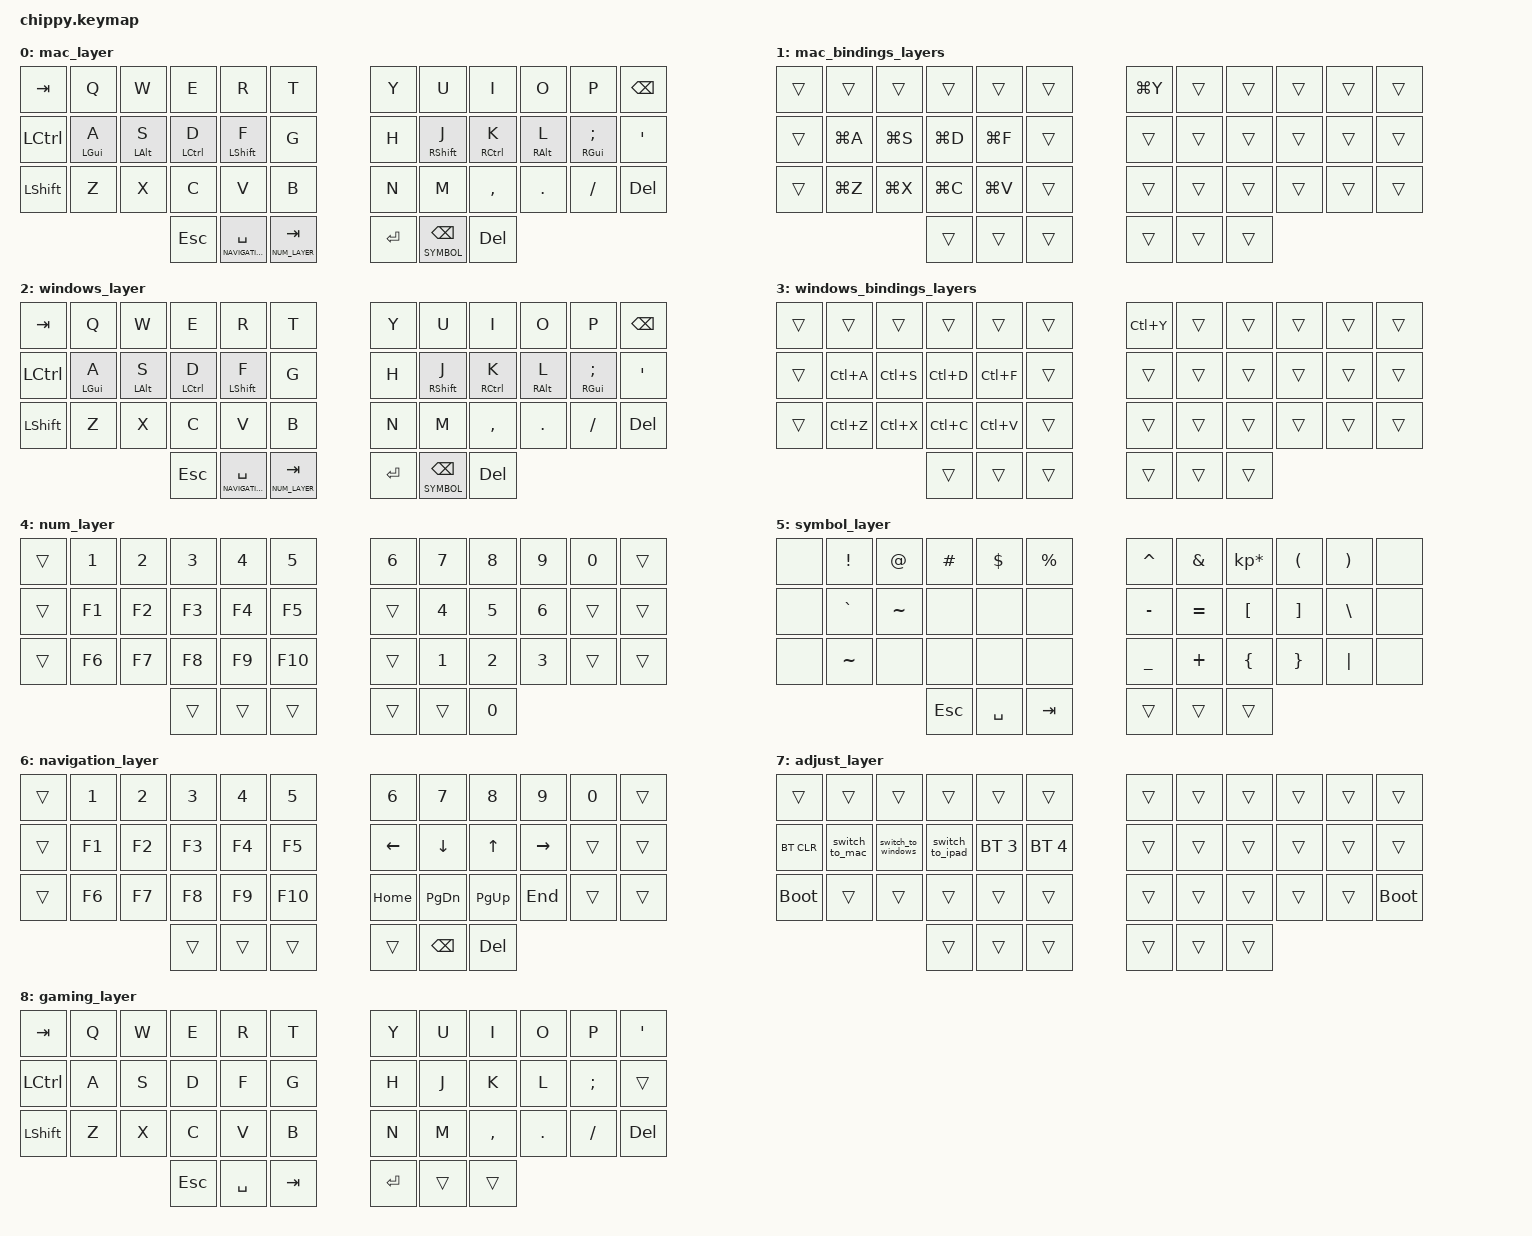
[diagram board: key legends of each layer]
/*
 * Copyright (c) 2020 The ZMK Contributors
 *
 * SPDX-License-Identifier: MIT
 */

#include <behaviors.dtsi>
#include <dt-bindings/zmk/keys.h>
#include <dt-bindings/zmk/bt.h>


#define MAC 0
#define MAC_BINDINGS 1
#define WINDOWS 2
#define WINDOWS_BINDINGS 3
#define NUM_LAYER   4
#define SYMBOL  5
#define NAVIGATION  6
#define ADJUST  7
#define GAMING  8

#define LT0  5  // left-top row
#define LT1  4
#define LT2  3
#define LT3  2
#define LT4  1
#define LT5  0

#define RT0  6  // right-top row
#define RT1  7
#define RT2  8
#define RT3  9
#define RT4 10
#define RT5 11

#define LM0 17  // left-middle row
#define LM1 16
#define LM2 15
#define LM3 14
#define LM4 13
#define LM5 12

#define RM0 18  // right-middle row
#define RM1 19
#define RM2 20
#define RM3 21
#define RM4 22
#define RM5 23

#define LB0 29  // left-bottom row
#define LB1 28
#define LB2 27
#define LB3 26
#define LB4 25
#define LB5 24

#define RB0 30  // right-bottom row
#define RB1 31
#define RB2 32
#define RB3 33
#define RB4 34
#define RB5 35

#define LH0 38  // left thumb keys
#define LH1 37
#define LH2 36

#define RH0 39  // right thumb keys
#define RH1 40
#define RH2 41

/ {
        conditional_layers {
                compatible = "zmk,conditional-layers";
                        tri_layer {
                        if-layers = <NUM_LAYER SYMBOL>;
                        then-layer = <ADJUST>;
                };
        };

        behaviors {
                hml: home_row_mod_left {
                        compatible = "zmk,behavior-hold-tap";
                        label = "HOME_ROW_MOD_LEFT";
                        #binding-cells = <2>;
                        flavor = "balanced";
                        tapping-term-ms = <280>;
                        quick-tap-ms = <175>;
                        bindings = <&kp>, <&kp>;
                        hold-trigger-key-positions = <
                                RT0 RT1 RT2 RT3 RT4 RT5  // right top row
                                RM0 RM1 RM2 RM3 RM4 RM5  // right middle row
                                RB0 RB1 RB2 RB3 RB4 RB5  // right bottom row
                                RH0 RH1 RH2              // right thumb keys
                        >;
                        hold-trigger-on-release;
                };
                hmr: home_row_mod_right {
                        compatible = "zmk,behavior-hold-tap";
                        label = "HOME_ROW_MOD_RIGHT";
                        #binding-cells = <2>;
                        flavor = "balanced";
                        tapping-term-ms = <280>;
                        quick-tap-ms = <175>;
                        bindings = <&kp>, <&kp>;
                        hold-trigger-key-positions = <
                                LT0 LT1 LT2 LT3 LT4 LT5  // left top row
                                LM0 LM1 LM2 LM3 LM4 LM5  // left middle row
                                LB0 LB1 LB2 LB3 LB4 LB5  // left bottom row
                                LH0 LH1 LH2              // left thumb keys
                        >;
                        hold-trigger-on-release;
                };
                lt_thumb: layer_tap_thumb {
                        compatible = "zmk,behavior-hold-tap";
                        label = "LAYER_TAP_THUMB";
                        #binding-cells = <2>;
                        tapping-term-ms = <200>;               // Slightly longer tapping term for better usability
                        flavor = "balanced";                   // Balanced approach to tap vs hold
                        hold-trigger-key-positions = <0 1 2 3 4 5 6 7 8 9 10 11
                                                     12 13 14 15 16 17 18 19 20 21 22 23
                                                     24 25 26 27 28 29 30 31 32 33 34 35>;  // All non-thumb keys
                        hold-trigger-on-release;               // Improved reliability for layer activation
                        retro-tap;                             // Tap key if no other key was pressed during hold
                        global-quick-tap;
                        bindings = <&mo>, <&kp>;
                };
        };

        macros {
                ZMK_MACRO(switch_to_mac, bindings= <&bt BT_SEL 0 &to MAC>;)
                ZMK_MACRO(switch_to_ipad, bindings= <&bt BT_SEL 2 &to MAC>;)
                ZMK_MACRO(switch_to_windows, bindings= <&bt BT_SEL 1 &to WINDOWS>;)
                ZMK_MACRO(toggle_gaming, bindings= <&tog GAMING>;)

                win_app_sw: win_app_sw {
                        label = "WINDOWS_APP_SWITCHER";
                        compatible = "zmk,behavior-macro";
                        #binding-cells = <0>;
                        bindings
                                = <&macro_press &kp LALT>
                                , <&macro_tap &kp TAB>
                                , <&macro_press &mo NAVIGATION>
                                , <&macro_pause_for_release>
                                , <&macro_release &mo NAVIGATION>
                                , <&macro_release &kp LALT>
                                ;
                };     

                mac_app_sw: mac_app_sw {
                        label = "MAC_APP_SWITCHER";
                        compatible = "zmk,behavior-macro";
                        #binding-cells = <0>;
                        bindings
                                = <&macro_press &kp LGUI>
                                , <&macro_tap &kp TAB>
                                , <&macro_press &mo NAVIGATION>
                                , <&macro_pause_for_release>
                                , <&macro_release &mo NAVIGATION>
                                , <&macro_release &kp LGUI>
                                ;
                };  
        };

        combos {
                compatible = "zmk,combos";
                combo_spotlight {         
                        timeout-ms = <50>;
                        key-positions = <LH0 RH0>;
                        bindings = <&kp LG(SPACE)>;
                        layers = <MAC>;
                };

                combo_sticky_shift_mac {
                        timeout-ms = <50>;
                        key-positions = <RT1 RT3>;  // U and O keys
                        bindings = <&sk LSHFT>;
                        layers = <MAC>;
                };

                combo_caps_word_mac {
                        timeout-ms = <50>;
                        key-positions = <RT1 RT2 RT3>;  // U, I, and O keys
                        bindings = <&caps_word>;
                        layers = <MAC>;
                };

                combo_spotlight_windows {         
                        timeout-ms = <50>;
                        key-positions = <LH0 RH0>;
                        bindings = <&kp LA(SPACE)>;
                        layers = <WINDOWS>;
                };

                combo_sticky_shift_windows {
                        timeout-ms = <50>;
                        key-positions = <RT1 RT3>;  // U and O keys
                        bindings = <&sk LSHFT>;
                        layers = <WINDOWS>;
                };

                combo_caps_word_windows {
                        timeout-ms = <50>;
                        key-positions = <RT1 RT2 RT3>;  // U, I, and O keys
                        bindings = <&caps_word>;
                        layers = <WINDOWS>;
                };

                combo_app_switcher_windows {         
                        timeout-ms = <50>;
                        key-positions = <LM4 LM3 LM2 LM1>;
                        bindings = <&win_app_sw>;
                        layers = <WINDOWS>;
                };

                combo_copy_windows {         
                        timeout-ms = <50>;
                        key-positions = <LB3 LB2>;
                        bindings = <&kp LC(C)>;
                        layers = <WINDOWS>;
                };
                combo_paste_windows {         
                        timeout-ms = <50>;
                        key-positions = <LB2 LB1>;
                        bindings = <&kp LC(V)>;
                        layers = <WINDOWS>;
                };
                combo_cut_windows {         
                        timeout-ms = <50>;
                        key-positions = <LB3 LB1>;
                        bindings = <&kp LC(X)>;
                        layers = <WINDOWS>;
                };
                combo_undo_windows {         
                        timeout-ms = <50>;
                        key-positions = <LB4 LB3>;
                        bindings = <&kp LC(Z)>;
                        layers = <WINDOWS>;
                };
                combo_select_windows {         
                        timeout-ms = <50>;
                        key-positions = <LM4 LM1>;
                        bindings = <&kp LC(A)>;
                        layers = <WINDOWS>;
                };
                combo_find_windows {         
                        timeout-ms = <50>;
                        key-positions = <LM2 LM1>;
                        bindings = <&kp LC(F)>;
                        layers = <WINDOWS>;
                };
                combo_close_window_windows {         
                        timeout-ms = <50>;
                        key-positions = <LT3 LT1>;
                        bindings = <&kp LC(W)>;
                        layers = <WINDOWS>;
                };
                
                combo_app_switcher_mac {         
                        timeout-ms = <50>;
                        key-positions = <LM4 LM3 LM2 LM1>;
                        bindings = <&mac_app_sw>;
                        layers = <MAC>;
                };
                
                combo_copy_mac {         
                        timeout-ms = <50>;
                        key-positions = <LB3 LB2>;
                        bindings = <&kp LG(C)>;
                        layers = <MAC>;
                };
                combo_paste_mac {         
                        timeout-ms = <50>;
                        key-positions = <LB2 LB1>;
                        bindings = <&kp LG(V)>;
                        layers = <MAC>;
                };
                combo_cut_mac {         
                        timeout-ms = <50>;
                        key-positions = <LB3 LB1>;
                        bindings = <&kp LG(X)>;
                        layers = <MAC>;
                };
                combo_undo_mac {         
                        timeout-ms = <50>;
                        key-positions = <LB4 LB3>;
                        bindings = <&kp LG(Z)>;
                        layers = <MAC>;
                };
                combo_select_mac {         
                        timeout-ms = <50>;
                        key-positions = <LM4 LM1>;
                        bindings = <&kp LG(A)>;
                        layers = <MAC>;
                };
                combo_find_mac {         
                        timeout-ms = <50>;
                        key-positions = <LM2 LM1>;
                        bindings = <&kp LG(F)>;
                        layers = <MAC>;
                };
                combo_close_window_mac {
                        timeout-ms = <50>;
                        key-positions = <LT3 LT1>;
                        bindings = <&kp LG(W)>;
                        layers = <MAC>;
                };

                combo_toggle_gaming {
                        timeout-ms = <50>;
                        key-positions = <LH2 RH2>;
                        bindings = <&toggle_gaming>;
                        layers = <WINDOWS GAMING>;
                };
        };                      

        keymap {
                compatible = "zmk,keymap";

                // MAC Layer (0) - Base Mac Layout
                // ╭─────────────┬─────────────┬─────────────┬─────────────┬─────────────┬─────────────╮   ╭─────────────┬─────────────┬─────────────┬─────────────┬─────────────┬─────────────╮
                // │   TRANS     │      Q      │      W      │      E      │      R      │      T      │   │      Y      │      U      │      I      │      O      │      P      │    BSPC     │
                // │   TRANS     │   GUI/A     │   ALT/S     │  CTRL/D     │  SHFT/F     │      G      │   │      H      │  SHFT/J     │  CTRL/K     │   ALT/L     │   GUI/;     │     '       │
                // │   TRANS     │      Z      │      X      │      C      │      V      │      B      │   │      N      │      M      │      ,      │      .      │      /      │    DEL      │
                // ╰─────────────┴─────────────┴─────────────┼─────────────┼─────────────┼─────────────┤   ├─────────────┼─────────────┼─────────────┼─────────────┴─────────────┴─────────────╯
                //                                           │    ESC      │ NAV/SPACE   │    TAB      │   │    RET      │   SYMBOL    │    RALT     │
                //                                           ╰─────────────┴─────────────┴─────────────╯   ╰─────────────┴─────────────┴─────────────╯
                mac_layer {
                        bindings = <
   &kp TAB       &kp Q           &kp W           &kp E            &kp R           &kp T               &kp Y           &kp U            &kp I            &kp O            &kp P            &kp BSPC
   &kp LCTRL     &hml LGUI A     &hml LALT S     &hml LCTRL D     &hml LSHFT F    &kp G               &kp H           &hmr RSHFT J     &hmr RCTRL K     &hmr RALT L      &hmr RGUI SEMI   &kp SQT
   &kp LSHFT     &kp Z           &kp X           &kp C            &kp V           &kp B               &kp N           &kp M            &kp COMMA        &kp DOT          &kp FSLH         &kp DEL
                                                &kp ESC          &lt_thumb NAVIGATION SPACE  &lt_thumb NUM_LAYER TAB   &kp RET          &lt_thumb SYMBOL BSPC  &kp DEL
                        >;
                };

                // MAC Bindings Layer (1) - Quick Mac Shortcuts
                // ╭─────────────┬─────────────┬─────────────┬─────────────┬─────────────┬─────────────╮   ╭─────────────┬─────────────┬─────────────┬─────────────┬─────────────┬─────────────╮
                // │   TRANS     │   TRANS     │   TRANS     │   TRANS     │   TRANS     │   TRANS     │   │   CMD+Y     │   TRANS     │   TRANS     │   TRANS     │   TRANS     │   TRANS     │
                // │   TRANS     │   CMD+A     │   CMD+S     │   CMD+D     │   CMD+F     │   TRANS     │   │   TRANS     │   TRANS     │   TRANS     │   TRANS     │   TRANS     │   TRANS     │
                // │   TRANS     │   CMD+Z     │   CMD+X     │   CMD+C     │   CMD+V     │   TRANS     │   │   TRANS     │   TRANS     │   TRANS     │   TRANS     │   TRANS     │   TRANS     │
                // ╰─────────────┴─────────────┴─────────────┼─────────────┼─────────────┼─────────────┤   ├─────────────┼─────────────┼─────────────┼─────────────┴─────────────┴─────────────╯
                //                                           │   TRANS     │   TRANS     │   TRANS     │   │   TRANS     │   TRANS     │   TRANS     │
                //                                           ╰─────────────┴─────────────┴─────────────╯   ╰─────────────┴─────────────┴─────────────╯
                mac_bindings_layers {
                        bindings = <
   &trans       &trans          &trans          &trans           &trans          &trans              &kp LG(Y)       &trans           &trans           &trans           &trans           &trans
   &trans       &kp LG(A)       &kp LG(S)       &kp LG(D)        &kp LG(F)       &trans              &trans          &trans           &trans           &trans           &trans           &trans
   &trans       &kp LG(Z)       &kp LG(X)       &kp LG(C)        &kp LG(V)       &trans              &trans          &trans           &trans           &trans           &trans           &trans
                                                &trans           &trans          &trans              &trans          &trans           &trans
                        >;
                };

                // Windows Layer (2) - Base Windows Layout
                // ╭─────────────┬─────────────┬─────────────┬─────────────┬─────────────┬─────────────╮   ╭─────────────┬─────────────┬─────────────┬─────────────┬─────────────┬─────────────╮
                // │   TRANS     │      Q      │      W      │      E      │      R      │      T      │   │      Y      │      U      │      I      │      O      │      P      │    BSPC     │
                // │   TRANS     │   GUI/A     │   ALT/S     │  CTRL/D     │  SHFT/F     │      G      │   │      H      │  SHFT/J     │  CTRL/K     │   ALT/L     │   GUI/;     │     '       │
                // │   TRANS     │      Z      │      X      │      C      │      V      │      B      │   │      N      │      M      │      ,      │      .      │      /      │    DEL      │
                // ╰─────────────┴─────────────┴─────────────┼─────────────┼─────────────┼─────────────┤   ├─────────────┼─────────────┼─────────────┼─────────────┴─────────────┴─────────────╯
                //                                           │    ESC      │ NUM_LAYER/SPACE │    TAB      │   │    RET      │   SYMBOL     │    LGUI     │
                //                                           ╰─────────────┴─────────────┴─────────────╯   ╰─────────────┴─────────────┴─────────────╯
                windows_layer {
                        bindings = <
   &kp TAB         &kp Q           &kp W           &kp E            &kp R           &kp T               &kp Y           &kp U            &kp I            &kp O            &kp P            &kp BSPC
   &kp LCTRL       &hml LGUI A     &hml LALT S     &hml LCTRL D     &hml LSHFT F    &kp G               &kp H           &hmr RSHFT J     &hmr RCTRL K     &hmr RALT L      &hmr RGUI SEMI   &kp SQT
   &kp LSHFT       &kp Z           &kp X           &kp C            &kp V           &kp B               &kp N           &kp M            &kp COMMA        &kp DOT          &kp FSLH         &kp DEL
                                                &kp ESC          &lt_thumb NAVIGATION SPACE  &lt_thumb NUM_LAYER TAB   &kp RET          &lt_thumb SYMBOL BSPC  &kp DEL
                        >;
                };

                // Windows Bindings Layer (3) - Quick Windows Shortcuts
                // ╭─────────────┬─────────────┬─────────────┬─────────────┬─────────────┬─────────────╮   ╭─────────────┬─────────────┬─────────────┬─────────────┬─────────────┬─────────────╮
                // │   TRANS     │   TRANS     │   TRANS     │   TRANS     │   TRANS     │   TRANS     │   │   CTRL+Y    │   TRANS     │   TRANS     │   TRANS     │   TRANS     │   TRANS     │
                // │   TRANS     │   CTRL+A    │   CTRL+S    │   CTRL+D    │   CTRL+F    │   TRANS     │   │   TRANS     │   TRANS     │   TRANS     │   TRANS     │   TRANS     │   TRANS     │
                // │   TRANS     │   CTRL+Z    │   CTRL+X    │   CTRL+C    │   CTRL+V    │   TRANS     │   │   TRANS     │   TRANS     │   TRANS     │   TRANS     │   TRANS     │   TRANS     │
                // ╰─────────────┴─────────────┴─────────────┼─────────────┼─────────────┼─────────────┤   ├─────────────┼─────────────┼─────────────┼─────────────┴─────────────┴─────────────╯
                //                                           │   TRANS     │   TRANS     │   TRANS     │   │   TRANS     │   TRANS     │   TRANS     │
                //                                           ╰─────────────┴─────────────┴─────────────╯   ╰─────────────┴─────────────┴─────────────╯
                windows_bindings_layers {
                        bindings = <
   &trans       &trans          &trans          &trans           &trans          &trans              &kp LC(Y)       &trans           &trans           &trans           &trans           &trans
   &trans       &kp LC(A)       &kp LC(S)       &kp LC(D)        &kp LC(F)       &trans              &trans          &trans           &trans           &trans           &trans           &trans
   &trans       &kp LC(Z)       &kp LC(X)       &kp LC(C)        &kp LC(V)       &trans              &trans          &trans           &trans           &trans           &trans           &trans
                                                &trans           &trans          &trans              &trans          &trans           &trans
                        >;
                };

                // NUM_LAYER (4) - Numbers and Function Keys
                // ╭─────────────┬─────────────┬─────────────┬─────────────┬─────────────┬─────────────╮   ╭─────────────┬─────────────┬─────────────┬─────────────┬─────────────┬─────────────╮
                // │   TRANS     │      1      │      2      │      3      │      4      │      5      │   │      6      │      7      │      8      │      9      │      0      │   TRANS     │
                // │   TRANS     │     F1      │     F2      │     F3      │     F4      │     F5      │   │   TRANS     │      4      │      5      │      6      │   TRANS     │   TRANS     │
                // │   TRANS     │     F6      │     F7      │     F8      │     F9      │    F10      │   │   TRANS     │      1      │      2      │      3      │   TRANS     │   TRANS     │
                // ╰─────────────┴─────────────┴─────────────┼─────────────┼─────────────┼─────────────┤   ├─────────────┼─────────────┼─────────────┼─────────────┴─────────────┴─────────────╯
                //                                           │   TRANS     │   TRANS     │   TRANS     │   │   TRANS     │   TRANS     │      0      │
                //                                           ╰─────────────┴─────────────┴─────────────╯   ╰─────────────┴─────────────┴─────────────╯
                num_layer {
                        bindings = <
   &trans       &kp N1          &kp N2          &kp N3           &kp N4          &kp N5              &kp N6          &kp N7           &kp N8           &kp N9           &kp N0           &trans  
   &trans       &kp F1          &kp F2          &kp F3           &kp F4          &kp F5              &trans          &kp N4           &kp N5           &kp N6           &trans           &trans 
   &trans       &kp F6          &kp F7          &kp F8           &kp F9          &kp F10             &trans          &kp N1           &kp N2           &kp N3           &trans           &trans 
                                                &trans           &trans          &trans              &trans          &trans           &kp N0
                        >;
                };

                // SYMBOL Layer (5) - Symbols
                // ╭─────────────┬─────────────┬─────────────┬─────────────┬─────────────┬─────────────╮   ╭─────────────┬─────────────┬─────────────┬─────────────┬─────────────┬─────────────╮
                // │   TRANS     │      !      │      @      │      #      │      $      │      %      │   │      ^      │      &      │      *      │      (      │      )      │   TRANS     │
                // │   TRANS     │   GUI/{     │   ALT/[     │  CTRL/(     │  SHFT/<     │      |      │   │      =      │  SHFT/>     │  CTRL/)     │   ALT/]     │   GUI/}     │   TRANS     │
                // │   TRANS     │      `      │      ~      │      -      │      +      │      \      │   │      _      │      ;      │      :      │      '      │      "      │   TRANS     │
                // ╰─────────────┴─────────────┴─────────────┼─────────────┼─────────────┼─────────────┤   ├─────────────┼─────────────┼─────────────┼─────────────┴─────────────┴─────────────╯
                //                                           │    ESC      │   SPACE     │    TAB      │   │   TRANS     │   TRANS     │   TRANS     │
                //                                           ╰─────────────┴─────────────┴─────────────╯   ╰─────────────┴─────────────┴─────────────╯
        
                symbol_layer {
                        bindings = <
   &none   /**/  &kp EXCL    &kp AT         &kp HASH     &kp DLLR    &kp PRCNT   /**/  &kp CARET &kp AMPS  &kp KP_MULTIPLY &kp LPAR &kp RPAR  /**/  &none
   &none   /**/  &kp GRAVE   &kp TILDE      &none        &none       &none       /**/  &kp MINUS &kp EQUAL &kp LBKT        &kp RBKT &kp BSLH  /**/  &none
   &none   /**/  &kp TILDE   &none          &none        &none       &none       /**/  &kp UNDER &kp PLUS  &kp LBRC        &kp RBRC &kp PIPE  /**/  &none
                                            &kp ESC      &kp SPACE   &kp TAB     /**/  &trans          &trans           &trans
                        >;
                };

                // NAVIGATION Layer (6) - Navigation
                // ╭─────────────┬─────────────┬─────────────┬─────────────┬─────────────┬─────────────╮   ╭─────────────┬─────────────┬─────────────┬─────────────┬─────────────┬─────────────╮
                // │   TRANS     │   TRANS     │   TRANS     │   TRANS     │   TRANS     │   TRANS     │   │   TRANS     │   TRANS     │   TRANS     │   TRANS     │   TRANS     │   TRANS     │
                // │   TRANS     │   TRANS     │   TRANS     │   TRANS     │   TRANS     │   TRANS     │   │    LEFT     │    DOWN     │     UP      │   RIGHT     │   TRANS     │   TRANS     │
                // │   TRANS     │   TRANS     │   TRANS     │   TRANS     │   TRANS     │   TRANS     │   │    HOME     │   PG_DN     │   PG_UP     │    END      │   TRANS     │   TRANS     │
                // ╰─────────────┴─────────────┴─────────────┼─────────────┼─────────────┼─────────────┤   ├─────────────┼─────────────┼─────────────┼─────────────┴─────────────┴─────────────╯
                //                                           │   TRANS     │   TRANS     │   TRANS     │   │   TRANS     │   BSPC      │    DEL      │
                //                                           ╰─────────────┴─────────────┴─────────────╯   ╰─────────────┴─────────────┴─────────────╯
                navigation_layer {
                        bindings = <
   &trans       &kp N1          &kp N2          &kp N3           &kp N4          &kp N5              &kp N6          &kp N7           &kp N8           &kp N9           &kp N0           &trans
   &trans       &kp F1          &kp F2          &kp F3           &kp F4          &kp F5              &kp LEFT        &kp DOWN         &kp UP           &kp RIGHT        &trans           &trans
   &trans       &kp F6          &kp F7          &kp F8           &kp F9          &kp F10             &kp HOME        &kp PG_DN        &kp PG_UP        &kp END          &trans           &trans
                                                &trans           &trans          &trans              &trans          &kp BSPC         &kp DEL
                        >;
                };

                // Adjust Layer (6) - Bluetooth and System
                // ╭─────────────┬─────────────┬─────────────┬─────────────┬─────────────┬─────────────╮   ╭─────────────┬─────────────┬─────────────┬─────────────┬─────────────┬─────────────╮
                // │   TRANS     │   TRANS     │   TRANS     │   TRANS     │   TRANS     │   TRANS     │   │   TRANS     │   TRANS     │   TRANS     │   TRANS     │   TRANS     │   TRANS     │
                // │  BT CLEAR   │   BT MAC    │   BT WIN    │  BT IPAD    │   BT 3      │   BT 4      │   │   TRANS     │   TRANS     │   TRANS     │   TRANS     │   TRANS     │   TRANS     │
                // │ BOOTLOADER  │   TRANS     │   TRANS     │   TRANS     │   TRANS     │   TRANS     │   │   TRANS     │   TRANS     │   TRANS     │   TRANS     │   TRANS     │ BOOTLOADER  │
                // ╰─────────────┴─────────────┴─────────────┼─────────────┼─────────────┼─────────────┤   ├─────────────┼─────────────┼─────────────┼─────────────┴─────────────┴─────────────╯
                //                                           │   TRANS     │   TRANS     │   TRANS     │   │   TRANS     │   TRANS     │   TRANS     │
                //                                           ╰─────────────┴─────────────┴─────────────╯   ╰─────────────┴─────────────┴─────────────╯
                adjust_layer {
                        bindings = <
   &trans       &trans          &trans          &trans           &trans          &trans              &trans          &trans           &trans           &trans           &trans           &trans
   &bt BT_CLR   &switch_to_mac  &switch_to_windows &switch_to_ipad &bt BT_SEL 3   &bt BT_SEL 4       &trans          &trans           &trans           &trans           &trans           &trans
   &bootloader  &trans          &trans          &trans           &trans          &trans              &trans          &trans           &trans           &trans           &trans           &bootloader
                                                &trans           &trans          &trans              &trans          &trans           &trans
                        >;
                };       

                // GAMING Layer (8) - Gaming Layout
                // ╭─────────────┬─────────────┬─────────────┬─────────────┬─────────────┬─────────────╮   ╭─────────────┬─────────────┬─────────────┬─────────────┬─────────────┬─────────────╮
                // │   TRANS     │      Q      │      W      │      E      │      R      │      T      │   │      Y      │      U      │      I      │      O      │      P      │    BSPC     │
                // │   TRANS     │      A      │      S      │      D      │      F      │      G      │   │      H      │      J      │      K      │      L      │      ;      │     '       │
                // │   TRANS     │      Z      │      X      │      C      │      V      │      B      │   │      N      │      M      │      ,      │      .      │      /      │    DEL      │
                // ╰─────────────┴─────────────┴─────────────┼─────────────┼─────────────┼─────────────┤   ├─────────────┼─────────────┼─────────────┼─────────────┴─────────────┴─────────────╯
                //                                           │    ESC      │   SPACE     │    TAB      │   │    RET      │   SYMBOL    │    RALT     │
                //                                           ╰─────────────┴─────────────┴─────────────╯   ╰─────────────┴─────────────┴─────────────╯
                gaming_layer {
                        bindings = <
   &kp TAB         &kp Q           &kp W           &kp E            &kp R           &kp T               &kp Y           &kp U            &kp I            &kp O            &kp P            &kp SQT
   &kp LCTRL       &kp A           &kp S           &kp D            &kp F           &kp G               &kp H           &kp J            &kp K            &kp L            &kp SEMI         &trans
   &kp LSHFT       &kp Z           &kp X           &kp C            &kp V           &kp B               &kp N           &kp M            &kp COMMA        &kp DOT          &kp FSLH         &kp DEL
                                                &kp ESC          &kp SPACE       &kp TAB             &kp RET         &trans           &trans
                        >;
                };
        }; 
};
